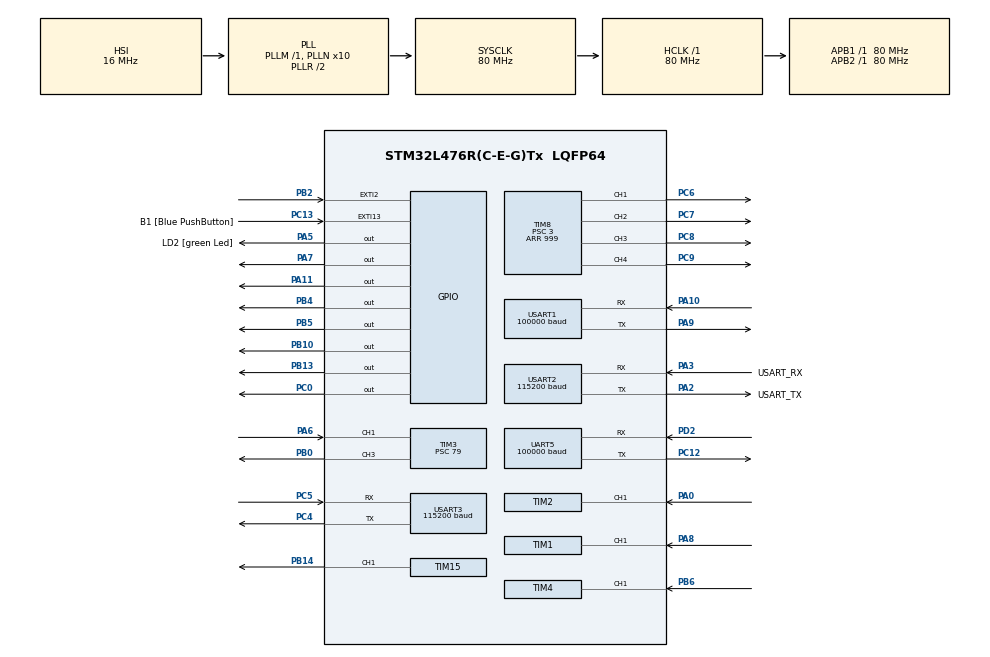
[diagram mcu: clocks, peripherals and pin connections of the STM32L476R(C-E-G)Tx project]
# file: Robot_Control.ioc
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Mcu.Family=STM32L4
Mcu.Name=STM32L476R(C-E-G)Tx
Mcu.Package=LQFP64
NVIC.EXTI15_10_IRQn=true\:0\:0\:false\:false\:true\:true\:true\:true
NVIC.EXTI2_IRQn=true\:0\:0\:false\:false\:true\:true\:true\:true
NVIC.PriorityGroup=NVIC_PRIORITYGROUP_4
NVIC.TIM1_BRK_TIM15_IRQn=true\:0\:0\:false\:false\:true\:true\:true\:true
NVIC.TIM1_CC_IRQn=true\:0\:0\:false\:false\:true\:true\:true\:true
NVIC.TIM1_TRG_COM_TIM17_IRQn=true\:0\:0\:false\:false\:true\:true\:true\:true
NVIC.TIM1_UP_TIM16_IRQn=true\:0\:0\:false\:false\:true\:true\:true\:true
NVIC.TIM2_IRQn=true\:0\:0\:false\:false\:true\:true\:true\:true
NVIC.TIM3_IRQn=true\:0\:0\:false\:false\:true\:true\:true\:true
NVIC.TIM4_IRQn=true\:0\:0\:false\:false\:true\:true\:true\:true
NVIC.TIM8_BRK_IRQn=true\:0\:0\:false\:false\:true\:true\:true\:true
NVIC.TIM8_CC_IRQn=true\:0\:0\:false\:false\:true\:true\:true\:true
NVIC.TIM8_TRG_COM_IRQn=true\:0\:0\:false\:false\:true\:true\:true\:true
NVIC.TIM8_UP_IRQn=true\:0\:0\:false\:false\:true\:true\:true\:true
NVIC.UART5_IRQn=true\:0\:0\:false\:false\:true\:true\:true\:true
NVIC.USART1_IRQn=true\:0\:0\:false\:false\:true\:true\:true\:true
NVIC.USART2_IRQn=true\:0\:0\:false\:false\:true\:true\:true\:true
NVIC.USART3_IRQn=true\:0\:0\:false\:false\:true\:true\:true\:true
PA0.Signal=S_TIM2_CH1
PA10.Mode=Asynchronous
PA10.Signal=USART1_RX
PA11.Signal=GPIO_Output
PA13\ (JTMS-SWDIO).GPIO_Label=TMS
PA13\ (JTMS-SWDIO).Mode=Serial_Wire
PA13\ (JTMS-SWDIO).Signal=SYS_JTMS-SWDIO
PA14\ (JTCK-SWCLK).GPIO_Label=TCK
PA14\ (JTCK-SWCLK).Mode=Serial_Wire
PA14\ (JTCK-SWCLK).Signal=SYS_JTCK-SWCLK
PA2.GPIO_Label=USART_TX
PA2.GPIO_Mode=GPIO_MODE_AF_PP
PA2.GPIO_PuPd=GPIO_NOPULL
PA2.GPIO_Speed=GPIO_SPEED_FREQ_VERY_HIGH
PA2.Mode=Asynchronous
PA2.Signal=USART2_TX
PA3.GPIO_Label=USART_RX
PA3.GPIO_Mode=GPIO_MODE_AF_PP
PA3.GPIO_PuPd=GPIO_NOPULL
PA3.GPIO_Speed=GPIO_SPEED_FREQ_VERY_HIGH
PA3.Mode=Asynchronous
PA3.Signal=USART2_RX
PA5.GPIO_Label=LD2 [green Led]
PA5.GPIO_ModeDefaultOutputPP=GPIO_MODE_OUTPUT_PP
PA5.GPIO_PuPd=GPIO_NOPULL
PA5.GPIO_Speed=GPIO_SPEED_FREQ_LOW
PA5.Signal=GPIO_Output
PA6.Signal=S_TIM3_CH1
PA7.Signal=GPIO_Output
PA8.Signal=S_TIM1_CH1
PA9.Mode=Asynchronous
PA9.Signal=USART1_TX
PB0.Signal=S_TIM3_CH3
PB10.Signal=GPIO_Output
PB13.Signal=GPIO_Output
PB14.Signal=S_TIM15_CH1
PB2.GPIO_ModeDefaultEXTI=GPIO_MODE_IT_FALLING
PB2.GPIO_PuPd=GPIO_PULLUP
PB2.Signal=GPXTI2
PB3\ (JTDO-TRACESWO).GPIO_Label=SWO
PB3\ (JTDO-TRACESWO).Signal=SYS_JTDO-SWO
PB4\ (NJTRST).Signal=GPIO_Output
PB5.Signal=GPIO_Output
PB6.Signal=S_TIM4_CH1
PC0.Signal=GPIO_Output
PC12.Mode=Asynchronous
PC12.Signal=UART5_TX
PC13.GPIO_Label=B1 [Blue PushButton]
PC13.GPIO_ModeDefaultEXTI=GPIO_MODE_IT_FALLING
PC13.GPIO_PuPd=GPIO_NOPULL
PC13.Signal=GPXTI13
PC14-OSC32_IN\ (PC14).Mode=LSE-External-Oscillator
PC14-OSC32_IN\ (PC14).Signal=RCC_OSC32_IN
PC15-OSC32_OUT\ (PC15).Mode=LSE-External-Oscillator
PC15-OSC32_OUT\ (PC15).Signal=RCC_OSC32_OUT
PC4.Mode=Asynchronous
PC4.Signal=USART3_TX
PC5.Mode=Asynchronous
PC5.Signal=USART3_RX
PC6.Signal=S_TIM8_CH1
PC7.Signal=S_TIM8_CH2
PC8.Signal=S_TIM8_CH3
PC9.Signal=S_TIM8_CH4
PD2.Mode=Asynchronous
PD2.Signal=UART5_RX
PH0-OSC_IN\ (PH0).Mode=HSE-External-Oscillator
PH0-OSC_IN\ (PH0).Signal=RCC_OSC_IN
PH1-OSC_OUT\ (PH1).Mode=HSE-External-Oscillator
PH1-OSC_OUT\ (PH1).Signal=RCC_OSC_OUT
ProjectManager.HeapSize=0x200
ProjectManager.StackSize=0x400
ProjectManager.TargetToolchain=STM32CubeIDE
RCC.ADCFreq_Value=64000000
RCC.AHBFreq_Value=80000000
RCC.APB1Freq_Value=80000000
RCC.APB1TimFreq_Value=80000000
RCC.APB2Freq_Value=80000000
RCC.APB2TimFreq_Value=80000000
RCC.CortexFreq_Value=80000000
RCC.HCLKFreq_Value=80000000
RCC.HSE_VALUE=8000000
RCC.HSI_VALUE=16000000
RCC.MSI_VALUE=4000000
RCC.PLLN=10
RCC.PLLSourceVirtual=RCC_PLLSOURCE_HSI
RCC.PREFETCH_ENABLE=1
RCC.SYSCLKFreq_VALUE=80000000
RCC.SYSCLKSource=RCC_SYSCLKSOURCE_PLLCLK
RCC.USBFreq_Value=64000000
RCC.VCOOutputFreq_Value=160000000
SH.S_TIM15_CH1.0=TIM15_CH1,PWM Generation1 CH1
SH.S_TIM1_CH1.0=TIM1_CH1,PWM_Input_1
SH.S_TIM2_CH1.0=TIM2_CH1,PWM_Input_1
SH.S_TIM3_CH1.0=TIM3_CH1,PWM_Input_1
SH.S_TIM3_CH3.0=TIM3_CH3,PWM Generation3 CH3
SH.S_TIM4_CH1.0=TIM4_CH1,PWM_Input_1
SH.S_TIM8_CH1.0=TIM8_CH1,PWM Generation1 CH1
SH.S_TIM8_CH2.0=TIM8_CH2,PWM Generation2 CH2
SH.S_TIM8_CH3.0=TIM8_CH3,PWM Generation3 CH3
SH.S_TIM8_CH4.0=TIM8_CH4,PWM Generation4 CH4
TIM1.Prescaler=79
TIM15.Channel-PWM\ Generation1\ CH1=TIM_CHANNEL_1
TIM15.Period=999
TIM15.Prescaler=79
TIM2.Period=65535
TIM2.Prescaler=79
TIM3.Channel-PWM\ Generation3\ CH3=TIM_CHANNEL_3
TIM3.Period=19999
TIM3.Prescaler=79
TIM4.Period=65535
TIM4.Prescaler=79
TIM8.Channel-PWM\ Generation1\ CH1=TIM_CHANNEL_1
TIM8.Channel-PWM\ Generation2\ CH2=TIM_CHANNEL_2
TIM8.Channel-PWM\ Generation3\ CH3=TIM_CHANNEL_3
TIM8.Channel-PWM\ Generation4\ CH4=TIM_CHANNEL_4
TIM8.Period=999
TIM8.Prescaler=3
UART5.BaudRate=100000
UART5.Mode=MODE_RX
UART5.Parity=PARITY_EVEN
UART5.StopBits=UART_STOPBITS_2
UART5.WordLength=WORDLENGTH_8B
USART1.BaudRate=100000
USART1.Mode=MODE_RX
USART1.Parity=PARITY_EVEN
USART1.RxPinLevelInvertParam=ADVFEATURE_RXINV_DISABLE
USART1.StopBits=STOPBITS_2
USART1.VirtualMode-Asynchronous=VM_ASYNC
USART1.WordLength=WORDLENGTH_9B
USART2.BaudRate=115200
USART2.Parity=PARITY_NONE
USART2.StopBits=STOPBITS_1
USART2.VirtualMode-Asynchronous=VM_ASYNC
USART2.WordLength=WORDLENGTH_8B
USART3.BaudRate=115200
USART3.Parity=PARITY_NONE
USART3.StopBits=STOPBITS_1
USART3.VirtualMode-Asynchronous=VM_ASYNC
USART3.WordLength=WORDLENGTH_8B
VP_TIM15_VS_ClockSourceINT.Mode=Internal
VP_TIM1_VS_ClockSourceINT.Mode=Internal
VP_TIM2_VS_ClockSourceINT.Mode=Internal
VP_TIM3_VS_ClockSourceINT.Mode=Internal
VP_TIM4_VS_ClockSourceINT.Mode=Internal
VP_TIM8_VS_ClockSourceINT.Mode=Internal
board=NUCLEO-L476RG

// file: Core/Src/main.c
/* USER CODE BEGIN Header */
/**
 ******************************************************************************
 * @file           : main.c
 * @brief          : Main program body
 ******************************************************************************
 * @attention
 *
 * <h2><center>&copy; Copyright (c) 2021 STMicroelectronics.
 * All rights reserved.</center></h2>
 *
 * This software component is licensed by ST under BSD 3-Clause license,
 * the "License"; You may not use this file except in compliance with the
 * License. You may obtain a copy of the License at:
 *                        opensource.org/licenses/BSD-3-Clause
 *
 ******************************************************************************
 */
/* USER CODE END Header */
#include "main.h"

/* USER CODE BEGIN Includes */
#include <stdio.h>
#include <stdlib.h>
#include <inttypes.h>
/* USER CODE END Includes */

/* USER CODE BEGIN PD */

// Motor
#define USER_TIM_ICPSC_DIV TIM_ICPSC_DIV4
#define SQUARE_WAVE_DISTANCE 0.115
#define OverallFrequencyRef 250
#define OverallPWMDutyRef 350

#define Motor1DirGrp GPIOB
#define Motor1DirPin GPIO_PIN_4
#define Motor2DirGrp GPIOB
#define Motor2DirPin GPIO_PIN_10
#define Motor3DirGrp GPIOA
#define Motor3DirPin GPIO_PIN_7
#define Motor4DirGrp GPIOB
#define Motor4DirPin GPIO_PIN_5

// Servo
// #define UART3_BufferSize 7

#define PITCH_SERVO_MAX 1240

// Stepper
#define SQUARE_WAVES_IN_1MM 40

// Communication
#define BufferSize 6
#define UART1_BufferSize 25
#define UART5_BufferSize 25
#define buf_ UART1_rxBuffer
#define UART1_ChannelSize 16

// Remote control
#define REMOTE_ENABLE_TH 800
#define LAUNCH_TH 1000

#define CH_0_MID 945
#define CH_1_MID 1005
#define CH_2_MID 1000
#define CH_3_MID 1024

/* USER CODE END PD */

TIM_HandleTypeDef htim1;
TIM_HandleTypeDef htim2;
TIM_HandleTypeDef htim3;
TIM_HandleTypeDef htim4;
TIM_HandleTypeDef htim8;
TIM_HandleTypeDef htim15;

UART_HandleTypeDef huart5;
UART_HandleTypeDef huart1;
UART_HandleTypeDef huart2;
UART_HandleTypeDef huart3;

/* USER CODE BEGIN PV */

// Motor
// int32_t motorState[4] = {-1, 1, -1, 1};
int motorPWM[4] = {0, 0, 0, 0};

// Stepper
int stepperCount = 0;
int stepperThreshold = (1 << 20);
int stepperDir = 0;
int currentStepperPosition = 0; // 0 - 6000 (0 - 5553, 74 - 1925)

// Servo
int pitchPWM = 0;
// uint8_t UART3_rxBuffer[UART3_BufferSize] = {0};

// launcher system
int is_launched = 0;

// UART2 - Communication
uint8_t UART2_rxBuffer[BufferSize] = {0};

// char commandFlag = 0;
// int commandDone = 0;
// int motorDone[4] = {0};
// int failFlag = 0;

// UART1 - SBUS
uint8_t UART1_rxBuffer[UART1_BufferSize] = {0};
uint8_t UART1_tmpBuffer[1] = {0};
int16_t ch_[UART1_ChannelSize] = {0};
uint8_t CH17_MASK_ = 0x01;
uint8_t CH18_MASK_ = 0x02;
uint8_t LOST_FRAME_MASK_ = 0x04;
uint8_t FAILSAFE_MASK_ = 0x08;
uint8_t ch17_ = 0;
uint8_t ch18_ = 0;
uint8_t lost_frame_ = 0;
uint8_t failsafe_ = 0;

// UART5 - SBUS(2)
uint8_t UART5_rxBuffer[UART5_BufferSize] = {0};
uint8_t UART5_tmpBuffer[1] = {0};

/* USER CODE END PV */

void SystemClock_Config(void);
static void MX_GPIO_Init(void);
static void MX_USART2_UART_Init(void);
static void MX_TIM1_Init(void);
static void MX_TIM2_Init(void);
static void MX_TIM3_Init(void);
static void MX_TIM4_Init(void);
static void MX_TIM8_Init(void);
static void MX_TIM15_Init(void);
static void MX_USART1_UART_Init(void);
static void MX_USART3_UART_Init(void);
static void MX_UART5_Init(void);

/* USER CODE BEGIN 0 */
// Motor
void MotorStop()
{
  motorPWM[0] = 0;
  motorPWM[1] = 0;
  motorPWM[2] = 0;
  motorPWM[3] = 0;
  __HAL_TIM_SetCompare(&htim8, TIM_CHANNEL_1, abs(motorPWM[0]));
  __HAL_TIM_SetCompare(&htim8, TIM_CHANNEL_2, abs(motorPWM[1]));
  __HAL_TIM_SetCompare(&htim8, TIM_CHANNEL_3, abs(motorPWM[2]));
  __HAL_TIM_SetCompare(&htim8, TIM_CHANNEL_4, abs(motorPWM[3]));
}

// Servo
void setAngle(uint8_t id, int16_t angle)
{
  uint8_t data[12] = {0x12, 0x4c, 0x08, 0x07, id, 0x00, 0x00, 0x20, 0x03, 0x00, 0x00, 0x00};
  angle = angle * 10;
  data[5] = (uint8_t)((angle << 8) >> 8);
  data[6] = (uint8_t)(angle >> 8);
  int16_t checksum = 0;
  for (int i = 0; i < 11; ++i)
    checksum += data[i];
  data[11] = (uint8_t)((checksum << 8) >> 8);
  HAL_UART_Transmit(&huart3, data, sizeof(data), HAL_MAX_DELAY);
  //	pingDone = 0;
  //	HAL_UART_Receive_IT(&huart3, UART3_rxBuffer, UART3_BufferSize);
}

// Communication (overload printf function)
int _write(int fd, char *ptr, int len)
{
  HAL_UART_Transmit(&huart2, (uint8_t *)ptr, len, 0xFFFF);
  return len;
}

// int _read (int fd, char *ptr, int len)
//{
//	*ptr = 0x00; // Flush the character buffer
//	HAL_UART_Receive(&huart2, (uint8_t*) ptr, 1, 0xFFFF);
//	return 1;
// }

// launch process
void launch()
{
  HAL_GPIO_WritePin(GPIOA, GPIO_PIN_11, GPIO_PIN_SET);
  HAL_Delay(200);
  HAL_GPIO_WritePin(GPIOA, GPIO_PIN_11, GPIO_PIN_RESET);
}

// SBUS data decode
void SBUS_Data()
{
  //	for(int i = 0; i < 25; ++i){
  //		printf("%02X ", buf_[i]);
  //	}
  //	printf("\r\n");

  // main part
  if (buf_[0] != 0x0f)
    return;
  ch_[0] = (((int16_t)buf_[1] >> 0) | ((int16_t)buf_[2] << 8)) & 0x07FF;
  ch_[1] = (((int16_t)buf_[2] >> 3) | ((int16_t)buf_[3] << 5)) & 0x07FF;
  ch_[2] = (((int16_t)buf_[3] >> 6) | ((int16_t)buf_[4] << 2) | ((int16_t)buf_[5] << 10)) & 0x07FF;
  ch_[3] = (((int16_t)buf_[5] >> 1) | ((int16_t)buf_[6] << 7)) & 0x07FF;
  ch_[4] = (((int16_t)buf_[6] >> 4) | ((int16_t)buf_[7] << 4)) & 0x07FF;
  ch_[5] = (((int16_t)buf_[7] >> 7) | ((int16_t)buf_[8] << 1) | ((int16_t)buf_[9] << 9)) & 0x07FF;
  ch_[6] = (((int16_t)buf_[9] >> 2) | ((int16_t)buf_[10] << 6)) & 0x07FF;
  ch_[7] = (((int16_t)buf_[10] >> 5) | ((int16_t)buf_[11] << 3)) & 0x07FF;
  ch_[8] = (((int16_t)buf_[12] >> 0) | ((int16_t)buf_[13] << 8)) & 0x07FF;
  ch_[9] = (((int16_t)buf_[13] >> 3) | ((int16_t)buf_[14] << 5)) & 0x07FF;
  //    ch_[10] = (((int16_t)buf_[14] >> 6) | ((int16_t)buf_[15] << 2)  | ((int16_t)buf_[16] << 10)) & 0x07FF;
  //    ch_[11] = (((int16_t)buf_[16] >> 1) | ((int16_t)buf_[17] << 7)) & 0x07FF;
  //    ch_[12] = (((int16_t)buf_[17] >> 4) | ((int16_t)buf_[18] << 4)) & 0x07FF;
  //    ch_[13] = (((int16_t)buf_[18] >> 7) | ((int16_t)buf_[19] << 1)  | ((int16_t)buf_[20] <<  9)) & 0x07FF;
  //    ch_[14] = (((int16_t)buf_[20] >> 2) | ((int16_t)buf_[21] << 6)) & 0x07FF;
  //    ch_[15] = (((int16_t)buf_[21] >> 5) | ((int16_t)buf_[22] << 3)) & 0x07FF;
  //	ch17_ = buf_[23] & CH17_MASK_;
  //	ch18_ = buf_[23] & CH18_MASK_;
  lost_frame_ = buf_[23] & LOST_FRAME_MASK_;
  failsafe_ = buf_[23] & FAILSAFE_MASK_;

  for (int i = 0; i < 10; ++i)
  {
    printf("%d\t ", ch_[i]);
  }
  printf("\n");

  if (ch_[2] <= 80)
    ch_[2] = 0;

  // right+, top+
  ch_[0] = (ch_[0] - CH_0_MID) / 2;
  ch_[1] = (CH_1_MID - ch_[1]) / 2;
  ch_[2] = (ch_[2] - CH_2_MID) / 2 + ch_[1]; // boost
  ch_[3] = (ch_[3] - CH_3_MID) / 2;
  // ch_[4]
  // ch_[5] = (1925 - ch_[5]) / 13;
  // ch_[6]
  // ch_[7]

  // stepper SW
  if (ch_[7] > 1000)
  {
    __HAL_TIM_SetCompare(&htim15, TIM_CHANNEL_1, 100);
    HAL_GPIO_WritePin(GPIOC, GPIO_PIN_0, GPIO_PIN_RESET);
  }
  else
  {
    __HAL_TIM_SetCompare(&htim15, TIM_CHANNEL_1, 0);
    HAL_GPIO_WritePin(GPIOC, GPIO_PIN_0, GPIO_PIN_SET);
  }

  if (ch_[9] > LAUNCH_TH && !is_launched)
  {
    launch();
    is_launched = 1;
  }
  else if (ch_[9] <= LAUNCH_TH)
    is_launched = 0;

  // launcher SW
  // if (ch_[9] > LAUNCH_TH)
  // {
  //   HAL_GPIO_WritePin(GPIOA, GPIO_PIN_11, GPIO_PIN_SET);
  // }
  // else
  // {
  //   HAL_GPIO_WritePin(GPIOA, GPIO_PIN_11, GPIO_PIN_RESET);
  // }

  // printf("R: %d\t ", ch_[0]);
  // printf("%d\t ", ch_[1]);
  // printf("%d\t ", ch_[2]);
  // printf("%d\t ", ch_[3]);

  // for (int i = 0; i < 10; ++i)
  // {
  //   printf("%d ", ch_[i]);
  // }
  // printf("\r\n");
}

void setMotor()
{

  // front-back:  1,-1, 1,-1
  // left-right: -1,-1, 1, 1
  // lr-rotate:   1, 1, 1, 1
  if (ch_[4] < REMOTE_ENABLE_TH)
  {
    motorPWM[0] = ch_[2] - ch_[3] + ch_[0];
    motorPWM[1] = -ch_[2] - ch_[3] + ch_[0];
    motorPWM[2] = ch_[2] + ch_[3] + ch_[0];
    motorPWM[3] = -ch_[2] + ch_[3] + ch_[0];
  }

  // printf("M: %d, %d, %d, %d\n", motorPWM[0], motorPWM[1], motorPWM[2], motorPWM[3]);

  HAL_GPIO_WritePin(Motor1DirGrp, Motor1DirPin, motorPWM[0] > 0 ? GPIO_PIN_SET : GPIO_PIN_RESET);
  HAL_GPIO_WritePin(Motor2DirGrp, Motor2DirPin, motorPWM[1] > 0 ? GPIO_PIN_SET : GPIO_PIN_RESET);
  HAL_GPIO_WritePin(Motor3DirGrp, Motor3DirPin, motorPWM[2] > 0 ? GPIO_PIN_SET : GPIO_PIN_RESET);
  HAL_GPIO_WritePin(Motor4DirGrp, Motor4DirPin, motorPWM[3] > 0 ? GPIO_PIN_SET : GPIO_PIN_RESET);
  __HAL_TIM_SetCompare(&htim8, TIM_CHANNEL_1, abs(motorPWM[0]));
  __HAL_TIM_SetCompare(&htim8, TIM_CHANNEL_2, abs(motorPWM[1]));
  __HAL_TIM_SetCompare(&htim8, TIM_CHANNEL_3, abs(motorPWM[2]));
  __HAL_TIM_SetCompare(&htim8, TIM_CHANNEL_4, abs(motorPWM[3]));

  // stepper
  //	stepperThreshold = (ch_[5] - 74) * 3;
  //	HAL_GPIO_WritePin(GPIOB, GPIO_PIN_13, stepperThreshold > currentStepperPosition ? GPIO_PIN_SET : GPIO_PIN_RESET);
  //	stepperDir = stepperThreshold > currentStepperPosition ? 1 : -1;
  //	if(abs(stepperThreshold - currentStepperPosition) > 5){
  //		TIM15->CCR1 = 500;
  //	}
  //	else{
  //		TIM15->CCR1 = 0;
  //	}

  // servo
  // pitchPWM = (ch_[5] > 100) ? ch_[5] + 500 : 1000;
  if (ch_[6] < PITCH_SERVO_MAX)
    ch_[6] = PITCH_SERVO_MAX;
  pitchPWM = ch_[6] + 500;
  // printf("S: %d\n ", pitchPWM);
  __HAL_TIM_SetCompare(&htim3, TIM_CHANNEL_3, pitchPWM);
}

void HAL_UART_RxCpltCallback(UART_HandleTypeDef *huart)
{
      printf("%s\n", UART1_rxBuffer);
  if (huart->Instance == huart1.Instance)
  {
    if (UART1_rxBuffer[0] != 0x0f)
    {
      HAL_UART_Receive(&huart1, UART1_tmpBuffer, 1, 100);
    }
    HAL_UART_Receive_IT(&huart1, UART1_rxBuffer, UART1_BufferSize);
  }
  // else if (huart->Instance == huart5.Instance)
  // {
  //   if (UART5_rxBuffer[0] != 0x0f)
  //   {
  //     HAL_UART_Receive(&huart5, UART5_tmpBuffer, 1, 100);
  //   }
  //   HAL_UART_Receive_IT(&huart5, UART1_rxBuffer, UART1_BufferSize);
  // }
  // else if (huart->Instance == huart3.Instance)
  // {
  //   // 0x05 0x1C cmd n id success checksum
  //   //		pingDone = 1;
  // }
}

/* USER CODE END 0 */

int main(void)
{

  /* MCU Configuration--------------------------------------------------------*/

  /* Reset of all peripherals, Initializes the Flash interface and the Systick. */
  HAL_Init();

  /* Configure the system clock */
  SystemClock_Config();

  /* Initialize all configured peripherals */
  MX_GPIO_Init();
  MX_USART2_UART_Init();
  MX_TIM1_Init();
  MX_TIM2_Init();
  MX_TIM3_Init();
  MX_TIM4_Init();
  MX_TIM8_Init();
  MX_TIM15_Init();
  MX_USART1_UART_Init();
  MX_USART3_UART_Init();
  MX_UART5_Init();
  /* USER CODE BEGIN 2 */
  // Motor
  HAL_TIM_PWM_Start(&htim8, TIM_CHANNEL_1);
  HAL_TIM_PWM_Start(&htim8, TIM_CHANNEL_2);
  HAL_TIM_PWM_Start(&htim8, TIM_CHANNEL_3);
  HAL_TIM_PWM_Start(&htim8, TIM_CHANNEL_4);
  MotorStop();

  // Pitch control servo
  HAL_TIM_PWM_Start(&htim3, TIM_CHANNEL_3);
  __HAL_TIM_SetCompare(&htim3, TIM_CHANNEL_3, 1000);

  // Stepper
  HAL_TIM_PWM_Start(&htim15, TIM_CHANNEL_1);
  // HAL_TIM_Base_Start_IT(&htim15);
  __HAL_TIM_SetCompare(&htim15, TIM_CHANNEL_1, 0);

  HAL_GPIO_WritePin(GPIOC, GPIO_PIN_0, GPIO_PIN_RESET);  // stepper enable
  HAL_GPIO_WritePin(GPIOB, GPIO_PIN_13, GPIO_PIN_RESET); // stepper direction
  //  if (HAL_GPIO_ReadPin(GPIOB, GPIO_PIN_2)){
  //	  TIM15->CCR1 = 500;
  //  }
  //  else{
  //	  HAL_GPIO_WritePin(LD2_GPIO_Port, LD2_Pin, GPIO_PIN_SET);
  //  }
  HAL_GPIO_WritePin(LD2_GPIO_Port, LD2_Pin, GPIO_PIN_SET);
  HAL_GPIO_WritePin(GPIOA, GPIO_PIN_11, GPIO_PIN_RESET);
  HAL_GPIO_WritePin(GPIOC, GPIO_PIN_3, GPIO_PIN_RESET);

  // Communication
  HAL_UART_Receive_IT(&huart1, UART1_rxBuffer, UART1_BufferSize);
  // HAL_UART_Receive_IT(&huart5, UART5_rxBuffer, UART5_BufferSize);

  printf("Hello\n");

  // sprintf(UART2_rxBuffer, "Hello\n");
  // HAL_UART_Transmit(&huart2, (uint8_t *)UART2_rxBuffer, 6, 0xFFFF);
  /* USER CODE END 2 */

  /* Infinite loop */
  while (1)
  {

    /* USER CODE BEGIN 3 */

    // __HAL_TIM_SetCompare(&htim15, TIM_CHANNEL_1, 100);
    // HAL_GPIO_WritePin(GPIOC, GPIO_PIN_0, GPIO_PIN_RESET);
    // HAL_Delay(2000);
    // __HAL_TIM_SetCompare(&htim15, TIM_CHANNEL_1, 0);
    // HAL_GPIO_WritePin(GPIOC, GPIO_PIN_0, GPIO_PIN_SET);
    // HAL_Delay(2000);

    SBUS_Data();
    setMotor();
  }
  /* USER CODE END 3 */
}

void SystemClock_Config(void)
{
  RCC_OscInitTypeDef RCC_OscInitStruct = {0};
  RCC_ClkInitTypeDef RCC_ClkInitStruct = {0};

  /** Configure the main internal regulator output voltage
  */
  if (HAL_PWREx_ControlVoltageScaling(PWR_REGULATOR_VOLTAGE_SCALE1) != HAL_OK)
  {
    Error_Handler();
  }

  /** Initializes the RCC Oscillators according to the specified parameters
  * in the RCC_OscInitTypeDef structure.
  */
  RCC_OscInitStruct.OscillatorType = RCC_OSCILLATORTYPE_HSI;
  RCC_OscInitStruct.HSIState = RCC_HSI_ON;
  RCC_OscInitStruct.HSICalibrationValue = RCC_HSICALIBRATION_DEFAULT;
  RCC_OscInitStruct.PLL.PLLState = RCC_PLL_ON;
  RCC_OscInitStruct.PLL.PLLSource = RCC_PLLSOURCE_HSI;
  RCC_OscInitStruct.PLL.PLLM = 1;
  RCC_OscInitStruct.PLL.PLLN = 10;
  RCC_OscInitStruct.PLL.PLLP = RCC_PLLP_DIV7;
  RCC_OscInitStruct.PLL.PLLQ = RCC_PLLQ_DIV2;
  RCC_OscInitStruct.PLL.PLLR = RCC_PLLR_DIV2;
  if (HAL_RCC_OscConfig(&RCC_OscInitStruct) != HAL_OK)
  {
    Error_Handler();
  }

  /** Initializes the CPU, AHB and APB buses clocks
  */
  RCC_ClkInitStruct.ClockType = RCC_CLOCKTYPE_HCLK|RCC_CLOCKTYPE_SYSCLK
                              |RCC_CLOCKTYPE_PCLK1|RCC_CLOCKTYPE_PCLK2;
  RCC_ClkInitStruct.SYSCLKSource = RCC_SYSCLKSOURCE_PLLCLK;
  RCC_ClkInitStruct.AHBCLKDivider = RCC_SYSCLK_DIV1;
  RCC_ClkInitStruct.APB1CLKDivider = RCC_HCLK_DIV1;
  RCC_ClkInitStruct.APB2CLKDivider = RCC_HCLK_DIV1;

  if (HAL_RCC_ClockConfig(&RCC_ClkInitStruct, FLASH_LATENCY_4) != HAL_OK)
  {
    Error_Handler();
  }
}

static void MX_TIM1_Init(void)
{

  TIM_ClockConfigTypeDef sClockSourceConfig = {0};
  TIM_SlaveConfigTypeDef sSlaveConfig = {0};
  TIM_IC_InitTypeDef sConfigIC = {0};
  TIM_MasterConfigTypeDef sMasterConfig = {0};

  htim1.Instance = TIM1;
  htim1.Init.Prescaler = 79;
  htim1.Init.CounterMode = TIM_COUNTERMODE_UP;
  htim1.Init.Period = 65535;
  htim1.Init.ClockDivision = TIM_CLOCKDIVISION_DIV1;
  htim1.Init.RepetitionCounter = 0;
  htim1.Init.AutoReloadPreload = TIM_AUTORELOAD_PRELOAD_DISABLE;
  if (HAL_TIM_Base_Init(&htim1) != HAL_OK)
  {
    Error_Handler();
  }
  sClockSourceConfig.ClockSource = TIM_CLOCKSOURCE_INTERNAL;
  if (HAL_TIM_ConfigClockSource(&htim1, &sClockSourceConfig) != HAL_OK)
  {
    Error_Handler();
  }
  if (HAL_TIM_IC_Init(&htim1) != HAL_OK)
  {
    Error_Handler();
  }
  sSlaveConfig.SlaveMode = TIM_SLAVEMODE_RESET;
  sSlaveConfig.InputTrigger = TIM_TS_TI1FP1;
  sSlaveConfig.TriggerPolarity = TIM_INPUTCHANNELPOLARITY_RISING;
  sSlaveConfig.TriggerPrescaler = TIM_ICPSC_DIV1;
  sSlaveConfig.TriggerFilter = 0;
  if (HAL_TIM_SlaveConfigSynchro(&htim1, &sSlaveConfig) != HAL_OK)
  {
    Error_Handler();
  }
  sConfigIC.ICPolarity = TIM_INPUTCHANNELPOLARITY_RISING;
  sConfigIC.ICSelection = TIM_ICSELECTION_DIRECTTI;
  sConfigIC.ICPrescaler = TIM_ICPSC_DIV1;
  sConfigIC.ICFilter = 0;
  if (HAL_TIM_IC_ConfigChannel(&htim1, &sConfigIC, TIM_CHANNEL_1) != HAL_OK)
  {
    Error_Handler();
  }
  sConfigIC.ICPolarity = TIM_INPUTCHANNELPOLARITY_FALLING;
  sConfigIC.ICSelection = TIM_ICSELECTION_INDIRECTTI;
  if (HAL_TIM_IC_ConfigChannel(&htim1, &sConfigIC, TIM_CHANNEL_2) != HAL_OK)
  {
    Error_Handler();
  }
  sMasterConfig.MasterOutputTrigger = TIM_TRGO_RESET;
  sMasterConfig.MasterOutputTrigger2 = TIM_TRGO2_RESET;
  sMasterConfig.MasterSlaveMode = TIM_MASTERSLAVEMODE_DISABLE;
  if (HAL_TIMEx_MasterConfigSynchronization(&htim1, &sMasterConfig) != HAL_OK)
  {
    Error_Handler();
  }
  /* USER CODE BEGIN TIM1_Init 2 */
  sConfigIC.ICPrescaler = USER_TIM_ICPSC_DIV;
  /* USER CODE END TIM1_Init 2 */

}

static void MX_TIM2_Init(void)
{

  TIM_ClockConfigTypeDef sClockSourceConfig = {0};
  TIM_SlaveConfigTypeDef sSlaveConfig = {0};
  TIM_IC_InitTypeDef sConfigIC = {0};
  TIM_MasterConfigTypeDef sMasterConfig = {0};

  htim2.Instance = TIM2;
  htim2.Init.Prescaler = 79;
  htim2.Init.CounterMode = TIM_COUNTERMODE_UP;
  htim2.Init.Period = 65535;
  htim2.Init.ClockDivision = TIM_CLOCKDIVISION_DIV1;
  htim2.Init.AutoReloadPreload = TIM_AUTORELOAD_PRELOAD_DISABLE;
  if (HAL_TIM_Base_Init(&htim2) != HAL_OK)
  {
    Error_Handler();
  }
  sClockSourceConfig.ClockSource = TIM_CLOCKSOURCE_INTERNAL;
  if (HAL_TIM_ConfigClockSource(&htim2, &sClockSourceConfig) != HAL_OK)
  {
    Error_Handler();
  }
  if (HAL_TIM_IC_Init(&htim2) != HAL_OK)
  {
    Error_Handler();
  }
  sSlaveConfig.SlaveMode = TIM_SLAVEMODE_RESET;
  sSlaveConfig.InputTrigger = TIM_TS_TI1FP1;
  sSlaveConfig.TriggerPolarity = TIM_INPUTCHANNELPOLARITY_RISING;
  sSlaveConfig.TriggerPrescaler = TIM_ICPSC_DIV1;
  sSlaveConfig.TriggerFilter = 0;
  if (HAL_TIM_SlaveConfigSynchro(&htim2, &sSlaveConfig) != HAL_OK)
  {
    Error_Handler();
  }
  sConfigIC.ICPolarity = TIM_INPUTCHANNELPOLARITY_RISING;
  sConfigIC.ICSelection = TIM_ICSELECTION_DIRECTTI;
  sConfigIC.ICPrescaler = TIM_ICPSC_DIV1;
  sConfigIC.ICFilter = 0;
  if (HAL_TIM_IC_ConfigChannel(&htim2, &sConfigIC, TIM_CHANNEL_1) != HAL_OK)
  {
    Error_Handler();
  }
  sConfigIC.ICPolarity = TIM_INPUTCHANNELPOLARITY_FALLING;
  sConfigIC.ICSelection = TIM_ICSELECTION_INDIRECTTI;
  if (HAL_TIM_IC_ConfigChannel(&htim2, &sConfigIC, TIM_CHANNEL_2) != HAL_OK)
  {
    Error_Handler();
  }
  sMasterConfig.MasterOutputTrigger = TIM_TRGO_RESET;
  sMasterConfig.MasterSlaveMode = TIM_MASTERSLAVEMODE_DISABLE;
  if (HAL_TIMEx_MasterConfigSynchronization(&htim2, &sMasterConfig) != HAL_OK)
  {
    Error_Handler();
  }
  /* USER CODE BEGIN TIM2_Init 2 */
  sConfigIC.ICPrescaler = USER_TIM_ICPSC_DIV;
  /* USER CODE END TIM2_Init 2 */

}

static void MX_TIM3_Init(void)
{

  TIM_ClockConfigTypeDef sClockSourceConfig = {0};
  TIM_SlaveConfigTypeDef sSlaveConfig = {0};
  TIM_IC_InitTypeDef sConfigIC = {0};
  TIM_MasterConfigTypeDef sMasterConfig = {0};
  TIM_OC_InitTypeDef sConfigOC = {0};

  htim3.Instance = TIM3;
  htim3.Init.Prescaler = 79;
  htim3.Init.CounterMode = TIM_COUNTERMODE_UP;
  htim3.Init.Period = 19999;
  htim3.Init.ClockDivision = TIM_CLOCKDIVISION_DIV1;
  htim3.Init.AutoReloadPreload = TIM_AUTORELOAD_PRELOAD_DISABLE;
  if (HAL_TIM_Base_Init(&htim3) != HAL_OK)
  {
    Error_Handler();
  }
  sClockSourceConfig.ClockSource = TIM_CLOCKSOURCE_INTERNAL;
  if (HAL_TIM_ConfigClockSource(&htim3, &sClockSourceConfig) != HAL_OK)
  {
    Error_Handler();
  }
  if (HAL_TIM_PWM_Init(&htim3) != HAL_OK)
  {
    Error_Handler();
  }
  if (HAL_TIM_IC_Init(&htim3) != HAL_OK)
  {
    Error_Handler();
  }
  sSlaveConfig.SlaveMode = TIM_SLAVEMODE_RESET;
  sSlaveConfig.InputTrigger = TIM_TS_TI1FP1;
  sSlaveConfig.TriggerPolarity = TIM_INPUTCHANNELPOLARITY_RISING;
  sSlaveConfig.TriggerPrescaler = TIM_ICPSC_DIV1;
  sSlaveConfig.TriggerFilter = 0;
  if (HAL_TIM_SlaveConfigSynchro(&htim3, &sSlaveConfig) != HAL_OK)
  {
    Error_Handler();
  }
  sConfigIC.ICPolarity = TIM_INPUTCHANNELPOLARITY_RISING;
  sConfigIC.ICSelection = TIM_ICSELECTION_DIRECTTI;
  sConfigIC.ICPrescaler = TIM_ICPSC_DIV1;
  sConfigIC.ICFilter = 0;
  if (HAL_TIM_IC_ConfigChannel(&htim3, &sConfigIC, TIM_CHANNEL_1) != HAL_OK)
  {
    Error_Handler();
  }
  sConfigIC.ICPolarity = TIM_INPUTCHANNELPOLARITY_FALLING;
  sConfigIC.ICSelection = TIM_ICSELECTION_INDIRECTTI;
  if (HAL_TIM_IC_ConfigChannel(&htim3, &sConfigIC, TIM_CHANNEL_2) != HAL_OK)
  {
    Error_Handler();
  }
  sMasterConfig.MasterOutputTrigger = TIM_TRGO_RESET;
  sMasterConfig.MasterSlaveMode = TIM_MASTERSLAVEMODE_DISABLE;
  if (HAL_TIMEx_MasterConfigSynchronization(&htim3, &sMasterConfig) != HAL_OK)
  {
    Error_Handler();
  }
  sConfigOC.OCMode = TIM_OCMODE_PWM1;
  sConfigOC.Pulse = 0;
  sConfigOC.OCPolarity = TIM_OCPOLARITY_HIGH;
  sConfigOC.OCFastMode = TIM_OCFAST_DISABLE;
  if (HAL_TIM_PWM_ConfigChannel(&htim3, &sConfigOC, TIM_CHANNEL_3) != HAL_OK)
  {
    Error_Handler();
  }
  /* USER CODE BEGIN TIM3_Init 2 */
  sConfigIC.ICPrescaler = USER_TIM_ICPSC_DIV;
  /* USER CODE END TIM3_Init 2 */
  HAL_TIM_MspPostInit(&htim3);

}

static void MX_TIM4_Init(void)
{

  TIM_ClockConfigTypeDef sClockSourceConfig = {0};
  TIM_SlaveConfigTypeDef sSlaveConfig = {0};
  TIM_IC_InitTypeDef sConfigIC = {0};
  TIM_MasterConfigTypeDef sMasterConfig = {0};

  htim4.Instance = TIM4;
  htim4.Init.Prescaler = 79;
  htim4.Init.CounterMode = TIM_COUNTERMODE_UP;
  htim4.Init.Period = 65535;
  htim4.Init.ClockDivision = TIM_CLOCKDIVISION_DIV1;
  htim4.Init.AutoReloadPreload = TIM_AUTORELOAD_PRELOAD_DISABLE;
  if (HAL_TIM_Base_Init(&htim4) != HAL_OK)
  {
    Error_Handler();
  }
  sClockSourceConfig.ClockSource = TIM_CLOCKSOURCE_INTERNAL;
  if (HAL_TIM_ConfigClockSource(&htim4, &sClockSourceConfig) != HAL_OK)
  {
    Error_Handler();
  }
  if (HAL_TIM_IC_Init(&htim4) != HAL_OK)
  {
    Error_Handler();
  }
  sSlaveConfig.SlaveMode = TIM_SLAVEMODE_RESET;
  sSlaveConfig.InputTrigger = TIM_TS_TI1FP1;
  sSlaveConfig.TriggerPolarity = TIM_INPUTCHANNELPOLARITY_RISING;
  sSlaveConfig.TriggerPrescaler = TIM_ICPSC_DIV1;
  sSlaveConfig.TriggerFilter = 0;
  if (HAL_TIM_SlaveConfigSynchro(&htim4, &sSlaveConfig) != HAL_OK)
  {
    Error_Handler();
  }
  sConfigIC.ICPolarity = TIM_INPUTCHANNELPOLARITY_RISING;
  sConfigIC.ICSelection = TIM_ICSELECTION_DIRECTTI;
  sConfigIC.ICPrescaler = TIM_ICPSC_DIV1;
  sConfigIC.ICFilter = 0;
  if (HAL_TIM_IC_ConfigChannel(&htim4, &sConfigIC, TIM_CHANNEL_1) != HAL_OK)
  {
    Error_Handler();
  }
  sConfigIC.ICPolarity = TIM_INPUTCHANNELPOLARITY_FALLING;
  sConfigIC.ICSelection = TIM_ICSELECTION_INDIRECTTI;
  if (HAL_TIM_IC_ConfigChannel(&htim4, &sConfigIC, TIM_CHANNEL_2) != HAL_OK)
  {
    Error_Handler();
  }
  sMasterConfig.MasterOutputTrigger = TIM_TRGO_RESET;
  sMasterConfig.MasterSlaveMode = TIM_MASTERSLAVEMODE_DISABLE;
  if (HAL_TIMEx_MasterConfigSynchronization(&htim4, &sMasterConfig) != HAL_OK)
  {
    Error_Handler();
  }
  /* USER CODE BEGIN TIM4_Init 2 */
  sConfigIC.ICPrescaler = USER_TIM_ICPSC_DIV;
  /* USER CODE END TIM4_Init 2 */

}

static void MX_TIM8_Init(void)
{

  TIM_ClockConfigTypeDef sClockSourceConfig = {0};
  TIM_MasterConfigTypeDef sMasterConfig = {0};
  TIM_OC_InitTypeDef sConfigOC = {0};
  TIM_BreakDeadTimeConfigTypeDef sBreakDeadTimeConfig = {0};

  htim8.Instance = TIM8;
  htim8.Init.Prescaler = 3;
  htim8.Init.CounterMode = TIM_COUNTERMODE_UP;
  htim8.Init.Period = 999;
  htim8.Init.ClockDivision = TIM_CLOCKDIVISION_DIV1;
  htim8.Init.RepetitionCounter = 0;
  htim8.Init.AutoReloadPreload = TIM_AUTORELOAD_PRELOAD_DISABLE;
  if (HAL_TIM_Base_Init(&htim8) != HAL_OK)
  {
    Error_Handler();
  }
  sClockSourceConfig.ClockSource = TIM_CLOCKSOURCE_INTERNAL;
  if (HAL_TIM_ConfigClockSource(&htim8, &sClockSourceConfig) != HAL_OK)
  {
    Error_Handler();
  }
  if (HAL_TIM_PWM_Init(&htim8) != HAL_OK)
  {
    Error_Handler();
  }
  sMasterConfig.MasterOutputTrigger = TIM_TRGO_RESET;
  sMasterConfig.MasterOutputTrigger2 = TIM_TRGO2_RESET;
  sMasterConfig.MasterSlaveMode = TIM_MASTERSLAVEMODE_DISABLE;
  if (HAL_TIMEx_MasterConfigSynchronization(&htim8, &sMasterConfig) != HAL_OK)
  {
    Error_Handler();
  }
  sConfigOC.OCMode = TIM_OCMODE_PWM1;
  sConfigOC.Pulse = 0;
  sConfigOC.OCPolarity = TIM_OCPOLARITY_HIGH;
  sConfigOC.OCNPolarity = TIM_OCNPOLARITY_HIGH;
  sConfigOC.OCFastMode = TIM_OCFAST_DISABLE;
  sConfigOC.OCIdleState = TIM_OCIDLESTATE_RESET;
  sConfigOC.OCNIdleState = TIM_OCNIDLESTATE_RESET;
  if (HAL_TIM_PWM_ConfigChannel(&htim8, &sConfigOC, TIM_CHANNEL_1) != HAL_OK)
  {
    Error_Handler();
  }
  if (HAL_TIM_PWM_ConfigChannel(&htim8, &sConfigOC, TIM_CHANNEL_2) != HAL_OK)
  {
    Error_Handler();
  }
  if (HAL_TIM_PWM_ConfigChannel(&htim8, &sConfigOC, TIM_CHANNEL_3) != HAL_OK)
  {
    Error_Handler();
  }
  if (HAL_TIM_PWM_ConfigChannel(&htim8, &sConfigOC, TIM_CHANNEL_4) != HAL_OK)
  {
    Error_Handler();
  }
  sBreakDeadTimeConfig.OffStateRunMode = TIM_OSSR_DISABLE;
  sBreakDeadTimeConfig.OffStateIDLEMode = TIM_OSSI_DISABLE;
  sBreakDeadTimeConfig.LockLevel = TIM_LOCKLEVEL_OFF;
  sBreakDeadTimeConfig.DeadTime = 0;
  sBreakDeadTimeConfig.BreakState = TIM_BREAK_DISABLE;
  sBreakDeadTimeConfig.BreakPolarity = TIM_BREAKPOLARITY_HIGH;
  sBreakDeadTimeConfig.BreakFilter = 0;
  sBreakDeadTimeConfig.Break2State = TIM_BREAK2_DISABLE;
  sBreakDeadTimeConfig.Break2Polarity = TIM_BREAK2POLARITY_HIGH;
  sBreakDeadTimeConfig.Break2Filter = 0;
  sBreakDeadTimeConfig.AutomaticOutput = TIM_AUTOMATICOUTPUT_DISABLE;
  if (HAL_TIMEx_ConfigBreakDeadTime(&htim8, &sBreakDeadTimeConfig) != HAL_OK)
  {
    Error_Handler();
  }
  HAL_TIM_MspPostInit(&htim8);

}

static void MX_TIM15_Init(void)
{

  TIM_ClockConfigTypeDef sClockSourceConfig = {0};
  TIM_MasterConfigTypeDef sMasterConfig = {0};
  TIM_OC_InitTypeDef sConfigOC = {0};
  TIM_BreakDeadTimeConfigTypeDef sBreakDeadTimeConfig = {0};

  htim15.Instance = TIM15;
  htim15.Init.Prescaler = 79;
  htim15.Init.CounterMode = TIM_COUNTERMODE_UP;
  htim15.Init.Period = 999;
  htim15.Init.ClockDivision = TIM_CLOCKDIVISION_DIV1;
  htim15.Init.RepetitionCounter = 0;
  htim15.Init.AutoReloadPreload = TIM_AUTORELOAD_PRELOAD_DISABLE;
  if (HAL_TIM_Base_Init(&htim15) != HAL_OK)
  {
    Error_Handler();
  }
  sClockSourceConfig.ClockSource = TIM_CLOCKSOURCE_INTERNAL;
  if (HAL_TIM_ConfigClockSource(&htim15, &sClockSourceConfig) != HAL_OK)
  {
    Error_Handler();
  }
  if (HAL_TIM_PWM_Init(&htim15) != HAL_OK)
  {
    Error_Handler();
  }
  sMasterConfig.MasterOutputTrigger = TIM_TRGO_RESET;
  sMasterConfig.MasterSlaveMode = TIM_MASTERSLAVEMODE_DISABLE;
  if (HAL_TIMEx_MasterConfigSynchronization(&htim15, &sMasterConfig) != HAL_OK)
  {
    Error_Handler();
  }
  sConfigOC.OCMode = TIM_OCMODE_PWM1;
  sConfigOC.Pulse = 0;
  sConfigOC.OCPolarity = TIM_OCPOLARITY_HIGH;
  sConfigOC.OCNPolarity = TIM_OCNPOLARITY_HIGH;
  sConfigOC.OCFastMode = TIM_OCFAST_DISABLE;
  sConfigOC.OCIdleState = TIM_OCIDLESTATE_RESET;
  sConfigOC.OCNIdleState = TIM_OCNIDLESTATE_RESET;
  if (HAL_TIM_PWM_ConfigChannel(&htim15, &sConfigOC, TIM_CHANNEL_1) != HAL_OK)
  {
    Error_Handler();
  }
  sBreakDeadTimeConfig.OffStateRunMode = TIM_OSSR_DISABLE;
  sBreakDeadTimeConfig.OffStateIDLEMode = TIM_OSSI_DISABLE;
  sBreakDeadTimeConfig.LockLevel = TIM_LOCKLEVEL_OFF;
  sBreakDeadTimeConfig.DeadTime = 0;
  sBreakDeadTimeConfig.BreakState = TIM_BREAK_DISABLE;
  sBreakDeadTimeConfig.BreakPolarity = TIM_BREAKPOLARITY_HIGH;
  sBreakDeadTimeConfig.AutomaticOutput = TIM_AUTOMATICOUTPUT_DISABLE;
  if (HAL_TIMEx_ConfigBreakDeadTime(&htim15, &sBreakDeadTimeConfig) != HAL_OK)
  {
    Error_Handler();
  }
  HAL_TIM_MspPostInit(&htim15);

}

static void MX_UART5_Init(void)
{

  huart5.Instance = UART5;
  huart5.Init.BaudRate = 100000;
  huart5.Init.WordLength = UART_WORDLENGTH_9B;
  huart5.Init.StopBits = UART_STOPBITS_2;
  huart5.Init.Parity = UART_PARITY_EVEN;
  huart5.Init.Mode = UART_MODE_RX;
  huart5.Init.HwFlowCtl = UART_HWCONTROL_NONE;
  huart5.Init.OverSampling = UART_OVERSAMPLING_16;
  huart5.Init.OneBitSampling = UART_ONE_BIT_SAMPLE_DISABLE;
  huart5.AdvancedInit.AdvFeatureInit = UART_ADVFEATURE_NO_INIT;
  if (HAL_UART_Init(&huart5) != HAL_OK)
  {
    Error_Handler();
  }

}

static void MX_USART1_UART_Init(void)
{

  huart1.Instance = USART1;
  huart1.Init.BaudRate = 100000;
  huart1.Init.WordLength = UART_WORDLENGTH_9B;
  huart1.Init.StopBits = UART_STOPBITS_2;
  huart1.Init.Parity = UART_PARITY_EVEN;
  huart1.Init.Mode = UART_MODE_RX;
  huart1.Init.HwFlowCtl = UART_HWCONTROL_NONE;
  huart1.Init.OverSampling = UART_OVERSAMPLING_16;
  huart1.Init.OneBitSampling = UART_ONE_BIT_SAMPLE_DISABLE;
  huart1.AdvancedInit.AdvFeatureInit = UART_ADVFEATURE_NO_INIT;
  if (HAL_UART_Init(&huart1) != HAL_OK)
  {
    Error_Handler();
  }

}

static void MX_USART2_UART_Init(void)
{

  huart2.Instance = USART2;
  huart2.Init.BaudRate = 115200;
  huart2.Init.WordLength = UART_WORDLENGTH_8B;
  huart2.Init.StopBits = UART_STOPBITS_1;
  huart2.Init.Parity = UART_PARITY_NONE;
  huart2.Init.Mode = UART_MODE_TX_RX;
  huart2.Init.HwFlowCtl = UART_HWCONTROL_NONE;
  huart2.Init.OverSampling = UART_OVERSAMPLING_16;
  huart2.Init.OneBitSampling = UART_ONE_BIT_SAMPLE_DISABLE;
  huart2.AdvancedInit.AdvFeatureInit = UART_ADVFEATURE_NO_INIT;
  if (HAL_UART_Init(&huart2) != HAL_OK)
  {
    Error_Handler();
  }

}

static void MX_USART3_UART_Init(void)
{

  huart3.Instance = USART3;
  huart3.Init.BaudRate = 100000;
  huart3.Init.WordLength = UART_WORDLENGTH_9B;
  huart3.Init.StopBits = UART_STOPBITS_2;
  huart3.Init.Parity = UART_PARITY_EVEN;
  huart3.Init.Mode = UART_MODE_TX_RX;
  huart3.Init.HwFlowCtl = UART_HWCONTROL_NONE;
  huart3.Init.OverSampling = UART_OVERSAMPLING_16;
  huart3.Init.OneBitSampling = UART_ONE_BIT_SAMPLE_DISABLE;
  huart3.AdvancedInit.AdvFeatureInit = UART_ADVFEATURE_NO_INIT;
  if (HAL_UART_Init(&huart3) != HAL_OK)
  {
    Error_Handler();
  }

}

static void MX_GPIO_Init(void)
{
  GPIO_InitTypeDef GPIO_InitStruct = {0};

  /* GPIO Ports Clock Enable */
  __HAL_RCC_GPIOC_CLK_ENABLE();
  __HAL_RCC_GPIOH_CLK_ENABLE();
  __HAL_RCC_GPIOA_CLK_ENABLE();
  __HAL_RCC_GPIOB_CLK_ENABLE();
  __HAL_RCC_GPIOD_CLK_ENABLE();

  /*Configure GPIO pin Output Level */
  HAL_GPIO_WritePin(GPIOC, GPIO_PIN_0, GPIO_PIN_RESET);

  /*Configure GPIO pin Output Level */
  HAL_GPIO_WritePin(GPIOA, LD2_Pin|GPIO_PIN_7|GPIO_PIN_11, GPIO_PIN_RESET);

  /*Configure GPIO pin Output Level */
  HAL_GPIO_WritePin(GPIOB, GPIO_PIN_10|GPIO_PIN_13|GPIO_PIN_4|GPIO_PIN_5, GPIO_PIN_RESET);

  /*Configure GPIO pin : B1_Pin */
  GPIO_InitStruct.Pin = B1_Pin;
  GPIO_InitStruct.Mode = GPIO_MODE_IT_FALLING;
  GPIO_InitStruct.Pull = GPIO_NOPULL;
  HAL_GPIO_Init(B1_GPIO_Port, &GPIO_InitStruct);

  /*Configure GPIO pin : PC0 */
  GPIO_InitStruct.Pin = GPIO_PIN_0;
  GPIO_InitStruct.Mode = GPIO_MODE_OUTPUT_PP;
  GPIO_InitStruct.Pull = GPIO_NOPULL;
  GPIO_InitStruct.Speed = GPIO_SPEED_FREQ_LOW;
  HAL_GPIO_Init(GPIOC, &GPIO_InitStruct);

  /*Configure GPIO pins : PC1 PC2 PC3 PC10
                           PC11 */
  GPIO_InitStruct.Pin = GPIO_PIN_1|GPIO_PIN_2|GPIO_PIN_3|GPIO_PIN_10
                          |GPIO_PIN_11;
  GPIO_InitStruct.Mode = GPIO_MODE_ANALOG;
  GPIO_InitStruct.Pull = GPIO_NOPULL;
  HAL_GPIO_Init(GPIOC, &GPIO_InitStruct);

  /*Configure GPIO pins : PA1 PA4 PA12 PA15 */
  GPIO_InitStruct.Pin = GPIO_PIN_1|GPIO_PIN_4|GPIO_PIN_12|GPIO_PIN_15;
  GPIO_InitStruct.Mode = GPIO_MODE_ANALOG;
  GPIO_InitStruct.Pull = GPIO_NOPULL;
  HAL_GPIO_Init(GPIOA, &GPIO_InitStruct);

  /*Configure GPIO pins : LD2_Pin PA7 PA11 */
  GPIO_InitStruct.Pin = LD2_Pin|GPIO_PIN_7|GPIO_PIN_11;
  GPIO_InitStruct.Mode = GPIO_MODE_OUTPUT_PP;
  GPIO_InitStruct.Pull = GPIO_NOPULL;
  GPIO_InitStruct.Speed = GPIO_SPEED_FREQ_LOW;
  HAL_GPIO_Init(GPIOA, &GPIO_InitStruct);

  /*Configure GPIO pins : PB1 PB11 PB12 PB15
                           PB7 PB8 PB9 */
  GPIO_InitStruct.Pin = GPIO_PIN_1|GPIO_PIN_11|GPIO_PIN_12|GPIO_PIN_15
                          |GPIO_PIN_7|GPIO_PIN_8|GPIO_PIN_9;
  GPIO_InitStruct.Mode = GPIO_MODE_ANALOG;
  GPIO_InitStruct.Pull = GPIO_NOPULL;
  HAL_GPIO_Init(GPIOB, &GPIO_InitStruct);

  /*Configure GPIO pin : PB2 */
  GPIO_InitStruct.Pin = GPIO_PIN_2;
  GPIO_InitStruct.Mode = GPIO_MODE_IT_FALLING;
  GPIO_InitStruct.Pull = GPIO_PULLUP;
  HAL_GPIO_Init(GPIOB, &GPIO_InitStruct);

  /*Configure GPIO pins : PB10 PB13 PB4 PB5 */
  GPIO_InitStruct.Pin = GPIO_PIN_10|GPIO_PIN_13|GPIO_PIN_4|GPIO_PIN_5;
  GPIO_InitStruct.Mode = GPIO_MODE_OUTPUT_PP;
  GPIO_InitStruct.Pull = GPIO_NOPULL;
  GPIO_InitStruct.Speed = GPIO_SPEED_FREQ_LOW;
  HAL_GPIO_Init(GPIOB, &GPIO_InitStruct);

  /* EXTI interrupt init*/
  HAL_NVIC_SetPriority(EXTI2_IRQn, 0, 0);
  HAL_NVIC_EnableIRQ(EXTI2_IRQn);

  HAL_NVIC_SetPriority(EXTI15_10_IRQn, 0, 0);
  HAL_NVIC_EnableIRQ(EXTI15_10_IRQn);

}

/* USER CODE BEGIN 4 */
void HAL_GPIO_EXTI_Callback(uint16_t GPIO_Pin)
{
  if (GPIO_Pin == GPIO_PIN_2)
  {
    TIM15->CCR1 = 0;
    currentStepperPosition = 0;
    HAL_GPIO_WritePin(LD2_GPIO_Port, LD2_Pin, GPIO_PIN_SET);
  }
  else if (GPIO_Pin == B1_Pin)
  {
  }
}

void HAL_TIM_PeriodElapsedCallback(TIM_HandleTypeDef *htim)
{
  //	if (htim->Instance == 5.Instance){
  //		if (TIM15->CCR1){
  //			currentStepperPosition += stepperDir;
  //		}
  //	}
}
/* USER CODE END 4 */

void Error_Handler(void)
{
  __disable_irq();
  while (1)
  {
  }
}
